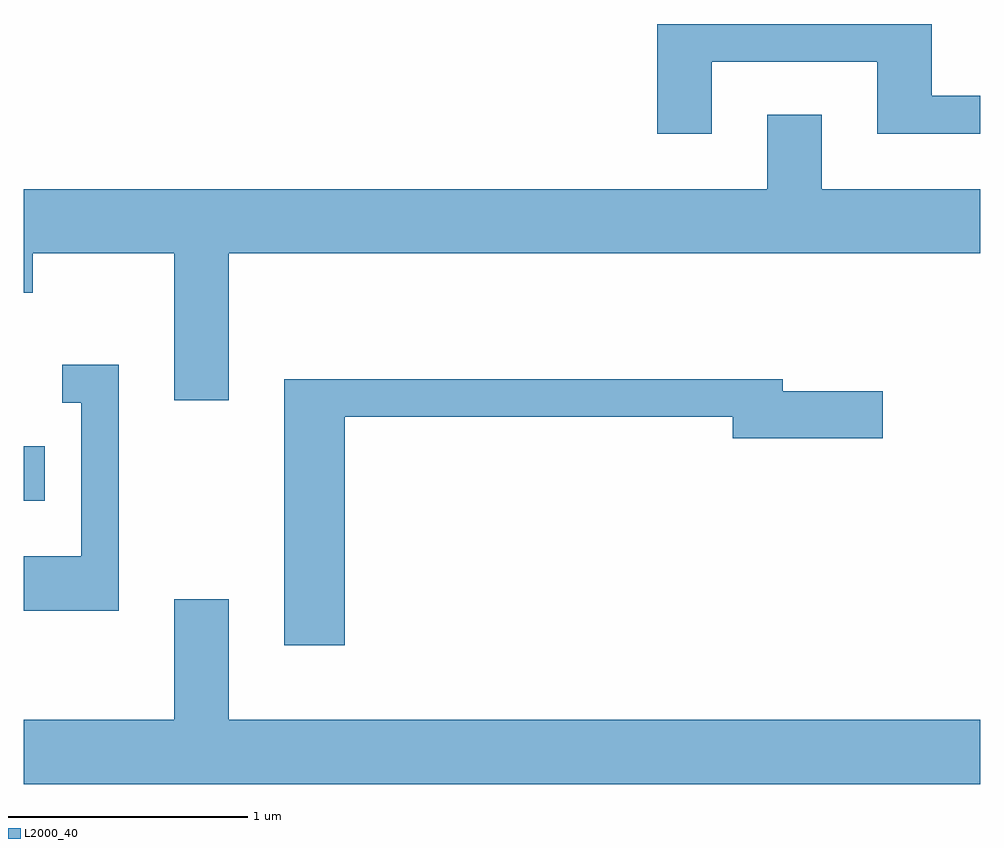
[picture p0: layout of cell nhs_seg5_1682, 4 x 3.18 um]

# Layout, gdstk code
import gdstk
lib = gdstk.Library(unit=1e-6, precision=1e-09)
def R(c, l, rs):  # rectangles x0, y0, x1, y1
    for r in rs: c.add(gdstk.rectangle(r[:2], r[2:], *l))
def P(c, l, *ps):  # polygons
    for p in ps: c.add(gdstk.Polygon(p, *l))
L2000_40 = (2000, 40)

nhs_seg5_1682 = lib.new_cell('nhs_seg5_1682')
R(nhs_seg5_1682, L2000_40, [(235.611,1398.041,235.699,1398.269)])
P(nhs_seg5_1682, L2000_40, [(238.489,1399.876),(239.181,1399.876),(239.181,1399.576),(239.611,1399.576),(239.611,1399.734),(239.409,1399.734),(239.409,1400.034),(238.261,1400.034),(238.261,1399.576),(238.489,1399.576)],
  [(236.469,1399.076),(239.611,1399.076),(239.611,1399.344),(238.949,1399.344),(238.949,1399.654),(238.721,1399.654),(238.721,1399.344),(235.611,1399.344),(235.611,1398.911),(235.649,1398.911),(235.649,1399.076),(236.241,1399.076),(236.241,1398.461),(236.469,1398.461)],
  [(236.009,1398.609),(235.773,1398.609),(235.773,1398.451),(235.851,1398.451),(235.851,1397.809),(235.611,1397.809),(235.611,1397.581),(236.009,1397.581)],
  [(236.954,1398.391),(238.576,1398.391),(238.576,1398.301),(239.204,1398.301),(239.204,1398.499),(238.784,1398.499),(238.784,1398.549),(236.701,1398.549),(236.701,1397.436),(236.954,1397.436)],
  [(239.611,1397.124),(236.469,1397.124),(236.469,1397.629),(236.241,1397.629),(236.241,1397.124),(235.611,1397.124),(235.611,1396.856),(239.611,1396.856)])

lib.write_gds('nhs_seg5_1682.gds')
